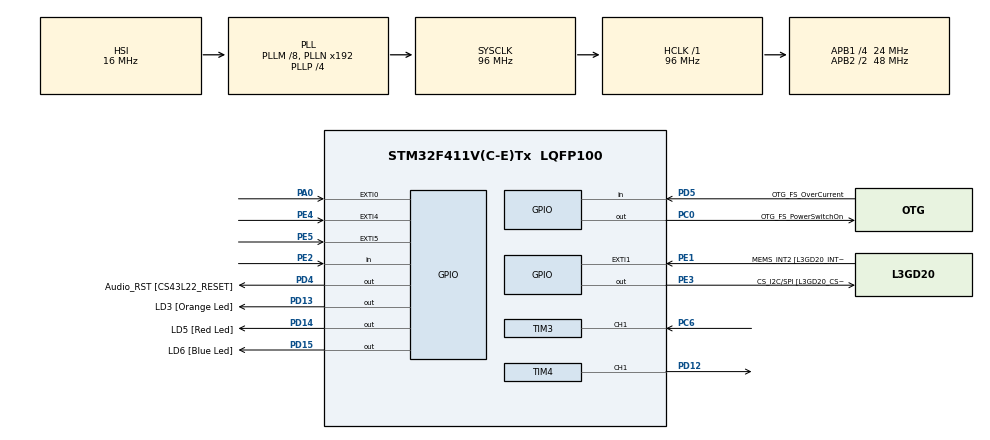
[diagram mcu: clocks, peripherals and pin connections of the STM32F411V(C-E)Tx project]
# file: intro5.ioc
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Mcu.Family=STM32F4
Mcu.Name=STM32F411V(C-E)Tx
Mcu.Package=LQFP100
NVIC.EXTI0_IRQn=true\:0\:0\:false\:false\:true\:true\:true\:true
NVIC.PriorityGroup=NVIC_PRIORITYGROUP_0
NVIC.TIM3_IRQn=true\:0\:0\:false\:false\:true\:true\:true\:true
PA0-WKUP.GPIO_ModeDefaultEXTI=GPIO_MODE_IT_RISING
PA0-WKUP.Signal=GPXTI0
PA10.GPIO_Label=OTG_FS_ID
PA10.Signal=USB_OTG_FS_ID
PA11.GPIO_Label=OTG_FS_DM
PA11.Signal=USB_OTG_FS_DM
PA12.GPIO_Label=OTG_FS_DP
PA12.Signal=USB_OTG_FS_DP
PA13.GPIO_Label=SWDIO
PA13.Signal=SYS_JTMS-SWDIO
PA14.GPIO_Label=SWCLK
PA14.Signal=SYS_JTCK-SWCLK
PA4.GPIO_Label=I2S3_WS [CS43L22_LRCK]
PA4.GPIO_Mode=GPIO_MODE_AF_PP
PA4.GPIO_PuPd=GPIO_NOPULL
PA4.GPIO_Speed=GPIO_SPEED_FREQ_LOW
PA4.Signal=I2S3_WS
PA5.GPIO_Label=SPI1_SCK [L3GD20_SC/SPC]
PA5.Signal=SPI1_SCK
PA6.GPIO_Label=SPI1_MISO [L3GD20_AS0/SDO]
PA6.Signal=SPI1_MISO
PA7.GPIO_Label=SPI1_MOSI [L3GD20_SDA/SDI/SDO]
PA7.Signal=SPI1_MOSI
PA9.GPIO_Label=VBUS_FS
PA9.Signal=USB_OTG_FS_VBUS
PB10.GPIO_Label=CLK_IN [MP45DT02_CLK]
PB10.Signal=I2S2_CK
PB12.Signal=I2S2_WS
PB3.GPIO_Label=SWO
PB3.Signal=SYS_JTDO-SWO
PB6.GPIO_Label=Audio_SCL [CS43L22_SCL]
PB6.GPIO_Mode=GPIO_MODE_AF_OD
PB6.GPIO_PuPd=GPIO_NOPULL
PB6.GPIO_Speed=GPIO_SPEED_FREQ_LOW
PB6.Signal=I2C1_SCL
PB9.GPIO_Label=Audio_SDA [CS43L22_SDA]
PB9.GPIO_Mode=GPIO_MODE_AF_OD
PB9.GPIO_PuPd=GPIO_NOPULL
PB9.GPIO_Speed=GPIO_SPEED_FREQ_LOW
PB9.Signal=I2C1_SDA
PC0.GPIO_Label=OTG_FS_PowerSwitchOn
PC0.PinState=GPIO_PIN_SET
PC0.Signal=GPIO_Output
PC10.GPIO_Label=I2S3_SCK [CS43L22_SCLK]
PC10.GPIO_Mode=GPIO_MODE_AF_PP
PC10.GPIO_PuPd=GPIO_NOPULL
PC10.GPIO_Speed=GPIO_SPEED_FREQ_LOW
PC10.Signal=I2S3_CK
PC12.GPIO_Label=I2S3_SD [CS43L22_SDIN]
PC12.GPIO_Mode=GPIO_MODE_AF_PP
PC12.GPIO_PuPd=GPIO_NOPULL
PC12.GPIO_Speed=GPIO_SPEED_FREQ_LOW
PC12.Signal=I2S3_SD
PC14-OSC32_IN.GPIO_Label=PC14-OSC32_IN
PC14-OSC32_IN.Signal=RCC_OSC32_IN
PC15-OSC32_OUT.GPIO_Label=PC15-OSC32_OUT
PC15-OSC32_OUT.Signal=RCC_OSC32_OUT
PC3.GPIO_Label=PDM_OUT [MP45DT02_DOUT]
PC3.Signal=I2S2_SD
PC6.Signal=S_TIM3_CH1
PC7.GPIO_Label=I2S3_MCK [CS43L22_MCLK]
PC7.GPIO_Mode=GPIO_MODE_AF_PP
PC7.GPIO_PuPd=GPIO_NOPULL
PC7.GPIO_Speed=GPIO_SPEED_FREQ_LOW
PC7.Signal=I2S3_MCK
PD12.Signal=S_TIM4_CH1
PD13.GPIO_Label=LD3 [Orange Led]
PD13.GPIO_PuPd=GPIO_NOPULL
PD13.GPIO_Speed=GPIO_SPEED_FREQ_LOW
PD13.Signal=GPIO_Output
PD14.GPIO_Label=LD5 [Red Led]
PD14.GPIO_PuPd=GPIO_NOPULL
PD14.GPIO_Speed=GPIO_SPEED_FREQ_LOW
PD14.Signal=GPIO_Output
PD15.GPIO_Label=LD6 [Blue Led]
PD15.GPIO_PuPd=GPIO_NOPULL
PD15.GPIO_Speed=GPIO_SPEED_FREQ_LOW
PD15.Signal=GPIO_Output
PD4.GPIO_Label=Audio_RST [CS43L22_RESET]
PD4.Signal=GPIO_Output
PD5.GPIO_Label=OTG_FS_OverCurrent
PD5.Signal=GPIO_Input
PE1.GPIO_Label=MEMS_INT2 [L3GD20_INT2]
PE1.GPIO_ModeDefaultEXTI=GPIO_MODE_EVT_RISING
PE1.Signal=GPXTI1
PE2.Signal=GPIO_Input
PE3.GPIO_Label=CS_I2C/SPI [L3GD20_CS_I2C/SPI]
PE3.Signal=GPIO_Output
PE4.GPIO_ModeDefaultEXTI=GPIO_MODE_EVT_RISING
PE4.Signal=GPXTI4
PE5.GPIO_ModeDefaultEXTI=GPIO_MODE_EVT_RISING
PE5.Signal=GPXTI5
PH0\ -\ OSC_IN.GPIO_Label=PH0-OSC_IN
PH0\ -\ OSC_IN.Signal=RCC_OSC_IN
PH1\ -\ OSC_OUT.GPIO_Label=PH1-OSC_OUT
PH1\ -\ OSC_OUT.Signal=RCC_OSC_OUT
ProjectManager.HeapSize=0x200
ProjectManager.StackSize=0x400
ProjectManager.TargetToolchain=STM32CubeIDE
RCC.48MHZClocksFreq_Value=48000000
RCC.AHBFreq_Value=96000000
RCC.APB1CLKDivider=RCC_HCLK_DIV4
RCC.APB1Freq_Value=24000000
RCC.APB1TimFreq_Value=48000000
RCC.APB2CLKDivider=RCC_HCLK_DIV2
RCC.APB2Freq_Value=48000000
RCC.APB2TimFreq_Value=96000000
RCC.CortexFreq_Value=96000000
RCC.HCLKFreq_Value=96000000
RCC.HSE_VALUE=8000000
RCC.HSI_VALUE=16000000
RCC.LSE_VALUE=32768
RCC.PLLI2SM=5
RCC.PLLI2SN=200
RCC.PLLM=8
RCC.PLLP=RCC_PLLP_DIV4
RCC.PLLQ=8
RCC.SYSCLKFreq_VALUE=96000000
RCC.SYSCLKSource=RCC_SYSCLKSOURCE_PLLCLK
RCC.VCOOutputFreq_Value=384000000
SH.S_TIM3_CH1.0=TIM3_CH1,Input_Capture1_from_TI1
SH.S_TIM4_CH1.0=TIM4_CH1,PWM Generation1 CH1
TIM3.Channel-Input_Capture1_from_TI1=TIM_CHANNEL_1
TIM3.Period=5000
TIM3.Prescaler=48000-1
TIM4.Channel-PWM\ Generation1\ CH1=TIM_CHANNEL_1
TIM4.Period=1000
TIM4.Prescaler=480-1
TIM4.Pulse-PWM\ Generation1\ CH1=250
VP_TIM3_VS_ClockSourceINT.Mode=Internal
VP_TIM4_VS_ClockSourceINT.Mode=Internal
board=STM32F411E-DISCO

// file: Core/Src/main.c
/* USER CODE BEGIN Header */
/**
  ******************************************************************************
  * @file           : main.c
  * @brief          : Main program body
  ******************************************************************************
  * @attention
  *
  * Copyright (c) 2024 STMicroelectronics.
  * All rights reserved.
  *
  * This software is licensed under terms that can be found in the LICENSE file
  * in the root directory of this software component.
  * If no LICENSE file comes with this software, it is provided AS-IS.
  *
  ******************************************************************************
  */
/* USER CODE END Header */
#include "main.h"

TIM_HandleTypeDef htim3;
TIM_HandleTypeDef htim4;

void SystemClock_Config(void);
static void MX_GPIO_Init(void);
static void MX_TIM4_Init(void);
static void MX_TIM3_Init(void);

int main(void)
{

  /* USER CODE BEGIN 1 */
	initialise_monitor_handles();
  /* USER CODE END 1 */

  /* MCU Configuration--------------------------------------------------------*/

  /* Reset of all peripherals, Initializes the Flash interface and the Systick. */
  HAL_Init();

  /* Configure the system clock */
  SystemClock_Config();

  /* Initialize all configured peripherals */
  MX_GPIO_Init();
  MX_TIM4_Init();
  MX_TIM3_Init();
  /* USER CODE BEGIN 2 */

  HAL_TIM_Base_Start_IT(&htim3);
  HAL_TIM_PWM_Start(&htim4, TIM_CHANNEL_1); //zielona dioda

printf("1.Tryb uspienia\n");
HAL_SuspendTick();
HAL_PWR_EnableSleepOnExit();
HAL_PWR_EnterSLEEPMode(0, PWR_SLEEPENTRY_WFI);

HAL_ResumeTick(); //przywracamy tick :3
printf("zapalamy switlo.\n");

// wakes up after 5 sec from sleeb by tim3 it
// PWM works in the background due to sleep mode
//pressing the button activates sleep mode until tim3 wakes up microcontroller again

  /* USER CODE END 2 */

  /* Infinite loop */
  /* USER CODE BEGIN WHILE */
printf("wchodzimy w delay\n");
  while (1)
  {
	  HAL_Delay(100);
	  HAL_GPIO_TogglePin(LD3_GPIO_Port, LD3_Pin);
    /* USER CODE END WHILE */

  }
}

void SystemClock_Config(void)
{
  RCC_OscInitTypeDef RCC_OscInitStruct = {0};
  RCC_ClkInitTypeDef RCC_ClkInitStruct = {0};

  /** Configure the main internal regulator output voltage
  */
  __HAL_RCC_PWR_CLK_ENABLE();
  __HAL_PWR_VOLTAGESCALING_CONFIG(PWR_REGULATOR_VOLTAGE_SCALE1);

  /** Initializes the RCC Oscillators according to the specified parameters
  * in the RCC_OscInitTypeDef structure.
  */
  RCC_OscInitStruct.OscillatorType = RCC_OSCILLATORTYPE_HSI;
  RCC_OscInitStruct.HSIState = RCC_HSI_ON;
  RCC_OscInitStruct.HSICalibrationValue = RCC_HSICALIBRATION_DEFAULT;
  RCC_OscInitStruct.PLL.PLLState = RCC_PLL_ON;
  RCC_OscInitStruct.PLL.PLLSource = RCC_PLLSOURCE_HSI;
  RCC_OscInitStruct.PLL.PLLM = 8;
  RCC_OscInitStruct.PLL.PLLN = 192;
  RCC_OscInitStruct.PLL.PLLP = RCC_PLLP_DIV4;
  RCC_OscInitStruct.PLL.PLLQ = 8;
  if (HAL_RCC_OscConfig(&RCC_OscInitStruct) != HAL_OK)
  {
    Error_Handler();
  }

  /** Initializes the CPU, AHB and APB buses clocks
  */
  RCC_ClkInitStruct.ClockType = RCC_CLOCKTYPE_HCLK|RCC_CLOCKTYPE_SYSCLK
                              |RCC_CLOCKTYPE_PCLK1|RCC_CLOCKTYPE_PCLK2;
  RCC_ClkInitStruct.SYSCLKSource = RCC_SYSCLKSOURCE_PLLCLK;
  RCC_ClkInitStruct.AHBCLKDivider = RCC_SYSCLK_DIV1;
  RCC_ClkInitStruct.APB1CLKDivider = RCC_HCLK_DIV4;
  RCC_ClkInitStruct.APB2CLKDivider = RCC_HCLK_DIV2;

  if (HAL_RCC_ClockConfig(&RCC_ClkInitStruct, FLASH_LATENCY_3) != HAL_OK)
  {
    Error_Handler();
  }
}

static void MX_TIM3_Init(void)
{

  TIM_ClockConfigTypeDef sClockSourceConfig = {0};
  TIM_MasterConfigTypeDef sMasterConfig = {0};
  TIM_IC_InitTypeDef sConfigIC = {0};

  htim3.Instance = TIM3;
  htim3.Init.Prescaler = 48000-1;
  htim3.Init.CounterMode = TIM_COUNTERMODE_UP;
  htim3.Init.Period = 5000;
  htim3.Init.ClockDivision = TIM_CLOCKDIVISION_DIV1;
  htim3.Init.AutoReloadPreload = TIM_AUTORELOAD_PRELOAD_DISABLE;
  if (HAL_TIM_Base_Init(&htim3) != HAL_OK)
  {
    Error_Handler();
  }
  sClockSourceConfig.ClockSource = TIM_CLOCKSOURCE_INTERNAL;
  if (HAL_TIM_ConfigClockSource(&htim3, &sClockSourceConfig) != HAL_OK)
  {
    Error_Handler();
  }
  if (HAL_TIM_IC_Init(&htim3) != HAL_OK)
  {
    Error_Handler();
  }
  sMasterConfig.MasterOutputTrigger = TIM_TRGO_RESET;
  sMasterConfig.MasterSlaveMode = TIM_MASTERSLAVEMODE_DISABLE;
  if (HAL_TIMEx_MasterConfigSynchronization(&htim3, &sMasterConfig) != HAL_OK)
  {
    Error_Handler();
  }
  sConfigIC.ICPolarity = TIM_INPUTCHANNELPOLARITY_RISING;
  sConfigIC.ICSelection = TIM_ICSELECTION_DIRECTTI;
  sConfigIC.ICPrescaler = TIM_ICPSC_DIV1;
  sConfigIC.ICFilter = 0;
  if (HAL_TIM_IC_ConfigChannel(&htim3, &sConfigIC, TIM_CHANNEL_1) != HAL_OK)
  {
    Error_Handler();
  }

}

static void MX_TIM4_Init(void)
{

  TIM_ClockConfigTypeDef sClockSourceConfig = {0};
  TIM_MasterConfigTypeDef sMasterConfig = {0};
  TIM_OC_InitTypeDef sConfigOC = {0};

  htim4.Instance = TIM4;
  htim4.Init.Prescaler = 480-1;
  htim4.Init.CounterMode = TIM_COUNTERMODE_UP;
  htim4.Init.Period = 1000;
  htim4.Init.ClockDivision = TIM_CLOCKDIVISION_DIV1;
  htim4.Init.AutoReloadPreload = TIM_AUTORELOAD_PRELOAD_DISABLE;
  if (HAL_TIM_Base_Init(&htim4) != HAL_OK)
  {
    Error_Handler();
  }
  sClockSourceConfig.ClockSource = TIM_CLOCKSOURCE_INTERNAL;
  if (HAL_TIM_ConfigClockSource(&htim4, &sClockSourceConfig) != HAL_OK)
  {
    Error_Handler();
  }
  if (HAL_TIM_PWM_Init(&htim4) != HAL_OK)
  {
    Error_Handler();
  }
  sMasterConfig.MasterOutputTrigger = TIM_TRGO_RESET;
  sMasterConfig.MasterSlaveMode = TIM_MASTERSLAVEMODE_DISABLE;
  if (HAL_TIMEx_MasterConfigSynchronization(&htim4, &sMasterConfig) != HAL_OK)
  {
    Error_Handler();
  }
  sConfigOC.OCMode = TIM_OCMODE_PWM1;
  sConfigOC.Pulse = 250;
  sConfigOC.OCPolarity = TIM_OCPOLARITY_HIGH;
  sConfigOC.OCFastMode = TIM_OCFAST_DISABLE;
  if (HAL_TIM_PWM_ConfigChannel(&htim4, &sConfigOC, TIM_CHANNEL_1) != HAL_OK)
  {
    Error_Handler();
  }
  HAL_TIM_MspPostInit(&htim4);

}

static void MX_GPIO_Init(void)
{
  GPIO_InitTypeDef GPIO_InitStruct = {0};

  /* GPIO Ports Clock Enable */
  __HAL_RCC_GPIOE_CLK_ENABLE();
  __HAL_RCC_GPIOC_CLK_ENABLE();
  __HAL_RCC_GPIOH_CLK_ENABLE();
  __HAL_RCC_GPIOA_CLK_ENABLE();
  __HAL_RCC_GPIOB_CLK_ENABLE();
  __HAL_RCC_GPIOD_CLK_ENABLE();

  /*Configure GPIO pin Output Level */
  HAL_GPIO_WritePin(CS_I2C_SPI_GPIO_Port, CS_I2C_SPI_Pin, GPIO_PIN_RESET);

  /*Configure GPIO pin Output Level */
  HAL_GPIO_WritePin(OTG_FS_PowerSwitchOn_GPIO_Port, OTG_FS_PowerSwitchOn_Pin, GPIO_PIN_SET);

  /*Configure GPIO pin Output Level */
  HAL_GPIO_WritePin(GPIOD, LD3_Pin|LD5_Pin|LD6_Pin|Audio_RST_Pin, GPIO_PIN_RESET);

  /*Configure GPIO pin : PE2 */
  GPIO_InitStruct.Pin = GPIO_PIN_2;
  GPIO_InitStruct.Mode = GPIO_MODE_INPUT;
  GPIO_InitStruct.Pull = GPIO_NOPULL;
  HAL_GPIO_Init(GPIOE, &GPIO_InitStruct);

  /*Configure GPIO pin : CS_I2C_SPI_Pin */
  GPIO_InitStruct.Pin = CS_I2C_SPI_Pin;
  GPIO_InitStruct.Mode = GPIO_MODE_OUTPUT_PP;
  GPIO_InitStruct.Pull = GPIO_NOPULL;
  GPIO_InitStruct.Speed = GPIO_SPEED_FREQ_LOW;
  HAL_GPIO_Init(CS_I2C_SPI_GPIO_Port, &GPIO_InitStruct);

  /*Configure GPIO pins : PE4 PE5 MEMS_INT2_Pin */
  GPIO_InitStruct.Pin = GPIO_PIN_4|GPIO_PIN_5|MEMS_INT2_Pin;
  GPIO_InitStruct.Mode = GPIO_MODE_EVT_RISING;
  GPIO_InitStruct.Pull = GPIO_NOPULL;
  HAL_GPIO_Init(GPIOE, &GPIO_InitStruct);

  /*Configure GPIO pin : OTG_FS_PowerSwitchOn_Pin */
  GPIO_InitStruct.Pin = OTG_FS_PowerSwitchOn_Pin;
  GPIO_InitStruct.Mode = GPIO_MODE_OUTPUT_PP;
  GPIO_InitStruct.Pull = GPIO_NOPULL;
  GPIO_InitStruct.Speed = GPIO_SPEED_FREQ_LOW;
  HAL_GPIO_Init(OTG_FS_PowerSwitchOn_GPIO_Port, &GPIO_InitStruct);

  /*Configure GPIO pin : PDM_OUT_Pin */
  GPIO_InitStruct.Pin = PDM_OUT_Pin;
  GPIO_InitStruct.Mode = GPIO_MODE_AF_PP;
  GPIO_InitStruct.Pull = GPIO_NOPULL;
  GPIO_InitStruct.Speed = GPIO_SPEED_FREQ_LOW;
  GPIO_InitStruct.Alternate = GPIO_AF5_SPI2;
  HAL_GPIO_Init(PDM_OUT_GPIO_Port, &GPIO_InitStruct);

  /*Configure GPIO pin : PA0 */
  GPIO_InitStruct.Pin = GPIO_PIN_0;
  GPIO_InitStruct.Mode = GPIO_MODE_IT_RISING;
  GPIO_InitStruct.Pull = GPIO_NOPULL;
  HAL_GPIO_Init(GPIOA, &GPIO_InitStruct);

  /*Configure GPIO pin : I2S3_WS_Pin */
  GPIO_InitStruct.Pin = I2S3_WS_Pin;
  GPIO_InitStruct.Mode = GPIO_MODE_AF_PP;
  GPIO_InitStruct.Pull = GPIO_NOPULL;
  GPIO_InitStruct.Speed = GPIO_SPEED_FREQ_LOW;
  GPIO_InitStruct.Alternate = GPIO_AF6_SPI3;
  HAL_GPIO_Init(I2S3_WS_GPIO_Port, &GPIO_InitStruct);

  /*Configure GPIO pins : SPI1_SCK_Pin SPI1_MISO_Pin SPI1_MOSI_Pin */
  GPIO_InitStruct.Pin = SPI1_SCK_Pin|SPI1_MISO_Pin|SPI1_MOSI_Pin;
  GPIO_InitStruct.Mode = GPIO_MODE_AF_PP;
  GPIO_InitStruct.Pull = GPIO_NOPULL;
  GPIO_InitStruct.Speed = GPIO_SPEED_FREQ_VERY_HIGH;
  GPIO_InitStruct.Alternate = GPIO_AF5_SPI1;
  HAL_GPIO_Init(GPIOA, &GPIO_InitStruct);

  /*Configure GPIO pins : CLK_IN_Pin PB12 */
  GPIO_InitStruct.Pin = CLK_IN_Pin|GPIO_PIN_12;
  GPIO_InitStruct.Mode = GPIO_MODE_AF_PP;
  GPIO_InitStruct.Pull = GPIO_NOPULL;
  GPIO_InitStruct.Speed = GPIO_SPEED_FREQ_LOW;
  GPIO_InitStruct.Alternate = GPIO_AF5_SPI2;
  HAL_GPIO_Init(GPIOB, &GPIO_InitStruct);

  /*Configure GPIO pins : LD3_Pin LD5_Pin LD6_Pin Audio_RST_Pin */
  GPIO_InitStruct.Pin = LD3_Pin|LD5_Pin|LD6_Pin|Audio_RST_Pin;
  GPIO_InitStruct.Mode = GPIO_MODE_OUTPUT_PP;
  GPIO_InitStruct.Pull = GPIO_NOPULL;
  GPIO_InitStruct.Speed = GPIO_SPEED_FREQ_LOW;
  HAL_GPIO_Init(GPIOD, &GPIO_InitStruct);

  /*Configure GPIO pins : I2S3_MCK_Pin I2S3_SCK_Pin I2S3_SD_Pin */
  GPIO_InitStruct.Pin = I2S3_MCK_Pin|I2S3_SCK_Pin|I2S3_SD_Pin;
  GPIO_InitStruct.Mode = GPIO_MODE_AF_PP;
  GPIO_InitStruct.Pull = GPIO_NOPULL;
  GPIO_InitStruct.Speed = GPIO_SPEED_FREQ_LOW;
  GPIO_InitStruct.Alternate = GPIO_AF6_SPI3;
  HAL_GPIO_Init(GPIOC, &GPIO_InitStruct);

  /*Configure GPIO pin : VBUS_FS_Pin */
  GPIO_InitStruct.Pin = VBUS_FS_Pin;
  GPIO_InitStruct.Mode = GPIO_MODE_INPUT;
  GPIO_InitStruct.Pull = GPIO_NOPULL;
  HAL_GPIO_Init(VBUS_FS_GPIO_Port, &GPIO_InitStruct);

  /*Configure GPIO pins : OTG_FS_ID_Pin OTG_FS_DM_Pin OTG_FS_DP_Pin */
  GPIO_InitStruct.Pin = OTG_FS_ID_Pin|OTG_FS_DM_Pin|OTG_FS_DP_Pin;
  GPIO_InitStruct.Mode = GPIO_MODE_AF_PP;
  GPIO_InitStruct.Pull = GPIO_NOPULL;
  GPIO_InitStruct.Speed = GPIO_SPEED_FREQ_VERY_HIGH;
  GPIO_InitStruct.Alternate = GPIO_AF10_OTG_FS;
  HAL_GPIO_Init(GPIOA, &GPIO_InitStruct);

  /*Configure GPIO pin : OTG_FS_OverCurrent_Pin */
  GPIO_InitStruct.Pin = OTG_FS_OverCurrent_Pin;
  GPIO_InitStruct.Mode = GPIO_MODE_INPUT;
  GPIO_InitStruct.Pull = GPIO_NOPULL;
  HAL_GPIO_Init(OTG_FS_OverCurrent_GPIO_Port, &GPIO_InitStruct);

  /*Configure GPIO pins : Audio_SCL_Pin Audio_SDA_Pin */
  GPIO_InitStruct.Pin = Audio_SCL_Pin|Audio_SDA_Pin;
  GPIO_InitStruct.Mode = GPIO_MODE_AF_OD;
  GPIO_InitStruct.Pull = GPIO_NOPULL;
  GPIO_InitStruct.Speed = GPIO_SPEED_FREQ_LOW;
  GPIO_InitStruct.Alternate = GPIO_AF4_I2C1;
  HAL_GPIO_Init(GPIOB, &GPIO_InitStruct);

  /* EXTI interrupt init*/
  HAL_NVIC_SetPriority(EXTI0_IRQn, 0, 0);
  HAL_NVIC_EnableIRQ(EXTI0_IRQn);

}

/* USER CODE BEGIN 4 */
int call_number = 0;
HAL_GPIO_EXTI_Callback(uint16_t GPIO_Pin)
{
	printf("wcisnieto przycisk: %d \n", call_number); //2
	printf("wywolano przerwanie przyciskiem\n");
	call_number++;
	HAL_PWR_EnableSleepOnExit();
}

void HAL_TIM_PeriodElapsedCallback(TIM_HandleTypeDef *htim) //wyjscie ze sleepa timerem 3
{
	if(htim == &htim3){
		HAL_PWR_DisableSleepOnExit(); //
	}
}

/* USER CODE END 4 */

void Error_Handler(void)
{
  __disable_irq();
  while (1)
  {
  }
}
